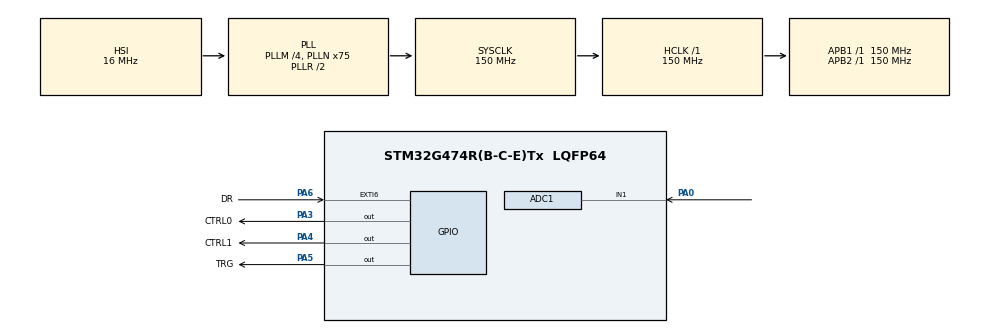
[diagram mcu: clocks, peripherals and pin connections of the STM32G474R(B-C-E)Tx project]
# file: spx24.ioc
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ADC1.Channel-0\#ChannelRegularConversion=ADC_CHANNEL_1
ADC1.NbrOfConversionFlag=1
ADC1.OffsetNumber-0\#ChannelRegularConversion=ADC_OFFSET_NONE
ADC1.Rank-0\#ChannelRegularConversion=1
ADC1.SamplingTime-0\#ChannelRegularConversion=ADC_SAMPLETIME_2CYCLES_5
ADC1.master=1
Mcu.Family=STM32G4
Mcu.Name=STM32G474R(B-C-E)Tx
Mcu.Package=LQFP64
NVIC.ADC1_2_IRQn=true\:0\:0\:false\:false\:true\:true\:true\:true
NVIC.EXTI9_5_IRQn=true\:0\:0\:false\:false\:true\:true\:true\:true
NVIC.PriorityGroup=NVIC_PRIORITYGROUP_4
NVIC.TIM1_BRK_TIM15_IRQn=true\:0\:0\:false\:false\:true\:true\:true\:true
PA0.Mode=IN1-Single-Ended
PA0.Signal=ADC1_IN1
PA3.GPIO_Label=CTRL0
PA3.Signal=GPIO_Output
PA4.GPIO_Label=CTRL1
PA4.Signal=GPIO_Output
PA5.GPIO_Label=TRG
PA5.Signal=GPIO_Output
PA6.GPIO_Label=DR
PA6.Signal=GPXTI6
ProjectManager.HeapSize=0x200
ProjectManager.StackSize=0x400
ProjectManager.TargetToolchain=STM32CubeIDE
RCC.ADC12Freq_Value=150000000
RCC.ADC345Freq_Value=150000000
RCC.AHBFreq_Value=150000000
RCC.APB1Freq_Value=150000000
RCC.APB1TimFreq_Value=150000000
RCC.APB2Freq_Value=150000000
RCC.APB2TimFreq_Value=150000000
RCC.CortexFreq_Value=150000000
RCC.EXTERNAL_CLOCK_VALUE=12288000
RCC.HCLKFreq_Value=150000000
RCC.HSE_VALUE=8000000
RCC.HSI48_VALUE=48000000
RCC.HSI_VALUE=16000000
RCC.LSE_VALUE=32768
RCC.PLLM=RCC_PLLM_DIV4
RCC.PLLN=75
RCC.SYSCLKFreq_VALUE=150000000
RCC.SYSCLKSource=RCC_SYSCLKSOURCE_PLLCLK
RCC.USBFreq_Value=150000000
RCC.VCOOutputFreq_Value=300000000
TIM15.PeriodNoDither=129
TIM15.Prescaler=14999
VP_TIM15_VS_ClockSourceINT.Mode=Internal
board=custom

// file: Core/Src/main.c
/* USER CODE BEGIN Header */
/**
  ******************************************************************************
  * @file           : main.c
  * @brief          : Main program body
  ******************************************************************************
  * @attention
  *
  * Copyright (c) 2024 STMicroelectronics.
  * All rights reserved.
  *
  * This software is licensed under terms that can be found in the LICENSE file
  * in the root directory of this software component.
  * If no LICENSE file comes with this software, it is provided AS-IS.
  *
  ******************************************************************************
  */
/* USER CODE END Header */
#include "main.h"
#include "adc.h"
#include "tim.h"
#include "gpio.h"

/* USER CODE BEGIN Includes */
#include <stdbool.h>
#include "spx24.h"
/* USER CODE END Includes */

void SystemClock_Config(void);

/* USER CODE BEGIN 0 */

extern volatile bool spx_data_ready;
extern volatile bool spx_busy;

volatile int spx_adc_val;

void HAL_ADC_ConvCpltCallback(ADC_HandleTypeDef* hadc)
{
	// set spx_data_ready flag to 1 when adc finishes measuring
	if(hadc == &hadc1){
		spx_adc_val = HAL_ADC_GetValue(&hadc1);
		spx_data_ready = 1;
		spx_busy = 0;
	}
}

void HAL_GPIO_EXTI_Callback(uint16_t GPIO_Pin)
{
	// start ADC when spx data is ready (rising edge on DR pin)
	if (GPIO_Pin == DR_Pin) {
		HAL_ADC_Start_IT(&hadc1);
	}
}

void HAL_TIM_PeriodElapsedCallback(TIM_HandleTypeDef* htim)
{
	//after 13ms stop the timer and reset the spx TRG pin
	if(htim == &htim15){
		HAL_GPIO_WritePin(TRG_GPIO_Port, TRG_Pin, GPIO_PIN_RESET);
		HAL_TIM_Base_Stop_IT(&htim15);
	}
}

/* USER CODE END 0 */

int main(void)
{

  /* MCU Configuration--------------------------------------------------------*/

  /* Reset of all peripherals, Initializes the Flash interface and the Systick. */
  HAL_Init();

  /* Configure the system clock */
  SystemClock_Config();

  /* Initialize all configured peripherals */
  MX_GPIO_Init();
  MX_ADC1_Init();
  MX_TIM15_Init();

  /* Infinite loop */
  /* USER CODE BEGIN WHILE */

  float result;

  while (1)
  {
	  // if spx isn't busy start measurement
	  if(!spx_busy){
		  spx_measure(temperature);
	  }

	  //get adc value if spx_data_ready flag is 1
	  if(spx_data_ready){
		  result = convert_adc_to_soil_parameter(temperature, spx_adc_val);
		  spx_data_ready = 0;
	  }

    /* USER CODE END WHILE */

  }
}

void SystemClock_Config(void)
{
  RCC_OscInitTypeDef RCC_OscInitStruct = {0};
  RCC_ClkInitTypeDef RCC_ClkInitStruct = {0};

  /** Configure the main internal regulator output voltage
  */
  HAL_PWREx_ControlVoltageScaling(PWR_REGULATOR_VOLTAGE_SCALE1);

  /** Initializes the RCC Oscillators according to the specified parameters
  * in the RCC_OscInitTypeDef structure.
  */
  RCC_OscInitStruct.OscillatorType = RCC_OSCILLATORTYPE_HSI;
  RCC_OscInitStruct.HSIState = RCC_HSI_ON;
  RCC_OscInitStruct.HSICalibrationValue = RCC_HSICALIBRATION_DEFAULT;
  RCC_OscInitStruct.PLL.PLLState = RCC_PLL_ON;
  RCC_OscInitStruct.PLL.PLLSource = RCC_PLLSOURCE_HSI;
  RCC_OscInitStruct.PLL.PLLM = RCC_PLLM_DIV4;
  RCC_OscInitStruct.PLL.PLLN = 75;
  RCC_OscInitStruct.PLL.PLLP = RCC_PLLP_DIV2;
  RCC_OscInitStruct.PLL.PLLQ = RCC_PLLQ_DIV2;
  RCC_OscInitStruct.PLL.PLLR = RCC_PLLR_DIV2;
  if (HAL_RCC_OscConfig(&RCC_OscInitStruct) != HAL_OK)
  {
    Error_Handler();
  }

  /** Initializes the CPU, AHB and APB buses clocks
  */
  RCC_ClkInitStruct.ClockType = RCC_CLOCKTYPE_HCLK|RCC_CLOCKTYPE_SYSCLK
                              |RCC_CLOCKTYPE_PCLK1|RCC_CLOCKTYPE_PCLK2;
  RCC_ClkInitStruct.SYSCLKSource = RCC_SYSCLKSOURCE_PLLCLK;
  RCC_ClkInitStruct.AHBCLKDivider = RCC_SYSCLK_DIV1;
  RCC_ClkInitStruct.APB1CLKDivider = RCC_HCLK_DIV1;
  RCC_ClkInitStruct.APB2CLKDivider = RCC_HCLK_DIV1;

  if (HAL_RCC_ClockConfig(&RCC_ClkInitStruct, FLASH_LATENCY_4) != HAL_OK)
  {
    Error_Handler();
  }
}

void Error_Handler(void)
{
  __disable_irq();
  while (1)
  {
  }
}
